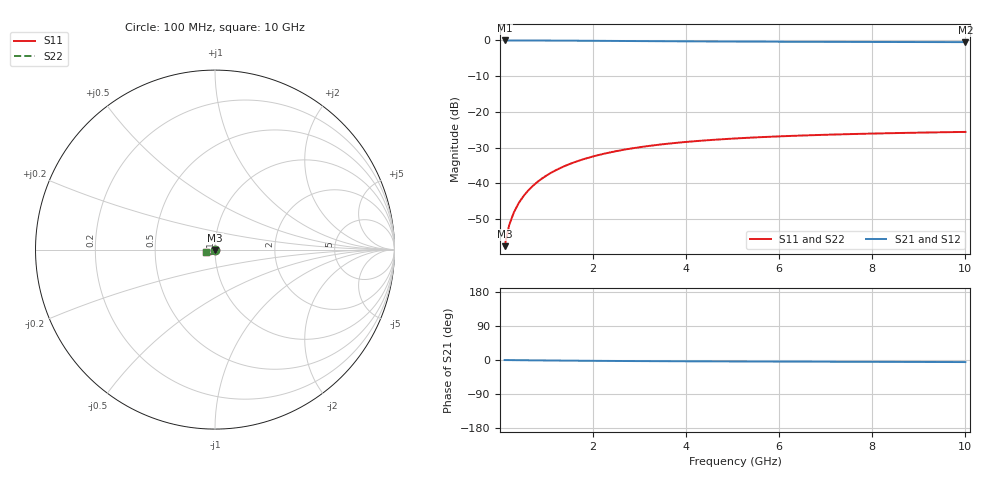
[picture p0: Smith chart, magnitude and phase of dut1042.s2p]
! Touchstone file exported from HFSS 2024.1.0
!  File:  C:/UserFiles/LocalFiles/RDL_TSV_Batchsim/temp_TSV1_1042_1780061699.aedt
!  Generated:  09:41:27 PM May 29, 2026
!  Design:  TSV1
!  Project:  temp_TSV1_1042_1780061699
!  Setup:  Setup1
!  Solution:  Sweep
! Variables:
!  dtsv = 9.57um
!  hbump = 3um
!  htsv = 87um
!  lrdl = 252.1521522um
!  p = 40
!  p1 = 40.7um
!  t = 500um
!  trdl = 3um
!  wrdl = 24.89489489um
# GHz S MA R 50.000000
! Terminal data exported
! Port[1] = TSV22_T1
! Port[2] = TSV22_T2
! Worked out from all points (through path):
!   100 points, 100 MHz to 10 GHz, reference 50 ohm
!   highest |S21| = 0.00 dB at 100 MHz (marker M1); lowest = -0.5 dB at 10 GHz (marker M2)
!   lowest |S11| = -57.5 dB at 100 MHz (marker M3), VSWR 1.00, Z = 50 - j0.132 ohm
!   |S11| at or under -10 dB: start of sweep to end of sweep
!   |S22| runs from -57.5 to -25.6 dB; largest |S21 - S12| = 4.1e-15
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0.1  0.001326 -84.1  0.9998 -0.1  0.9998 -0.1  0.001326 -84.1
! Gamma 0 0 0 0
! Port Impedance 50 0 50 0
0.2  0.00264 -89.1  0.9997 -0.3  0.9997 -0.3  0.00264 -89.1
0.3  0.003958 -91.7  0.9995 -0.4  0.9995 -0.4  0.003958 -91.7
0.4  0.005273 -93.8  0.9992 -0.5  0.9992 -0.5  0.005273 -93.8
0.5  0.006582 -95.7  0.9989 -0.6  0.9989 -0.6  0.006582 -95.7
0.6  0.00788 -97.4  0.9985 -0.7  0.9985 -0.7  0.00788 -97.4
0.7  0.009164 -99.1  0.9981 -0.9  0.9981 -0.9  0.009164 -99.1
0.8  0.01043 -100.7  0.9976 -1.0  0.9976 -1.0  0.01043 -100.7
0.9  0.01168 -102.3  0.997 -1.1  0.997 -1.1  0.01168 -102.3
1.1  0.01412 -105.3  0.9958 -1.3  0.9958 -1.3  0.01412 -105.3
1.4  0.0176 -109.6  0.9936 -1.6  0.9936 -1.6  0.0176 -109.6
1.6  0.01979 -112.4  0.992 -1.8  0.992 -1.8  0.01979 -112.4
1.8  0.02188 -115.0  0.9903 -2.0  0.9903 -2.0  0.02188 -115.0
2.1  0.02479 -118.8  0.9877 -2.3  0.9877 -2.3  0.02479 -118.8
2.5  0.0283 -123.4  0.9841 -2.6  0.9841 -2.6  0.0283 -123.4
2.9  0.03139 -127.7  0.9805 -2.8  0.9805 -2.8  0.03139 -127.7
3.4  0.03472 -132.5  0.9763 -3.1  0.9763 -3.1  0.03472 -132.5
4.2  0.03903 -139.1  0.9703 -3.5  0.9703 -3.5  0.03903 -139.1
5.1  0.04272 -145.4  0.9646 -3.9  0.9646 -3.9  0.04272 -145.4
6.7  0.04729 -154.2  0.957 -4.4  0.957 -4.4  0.04729 -154.2
8.4  0.05048 -161.5  0.9514 -5.0  0.9514 -5.0  0.05048 -161.5
10  0.05258 -167.1  0.9477 -5.5  0.9477 -5.5  0.05258 -167.1
